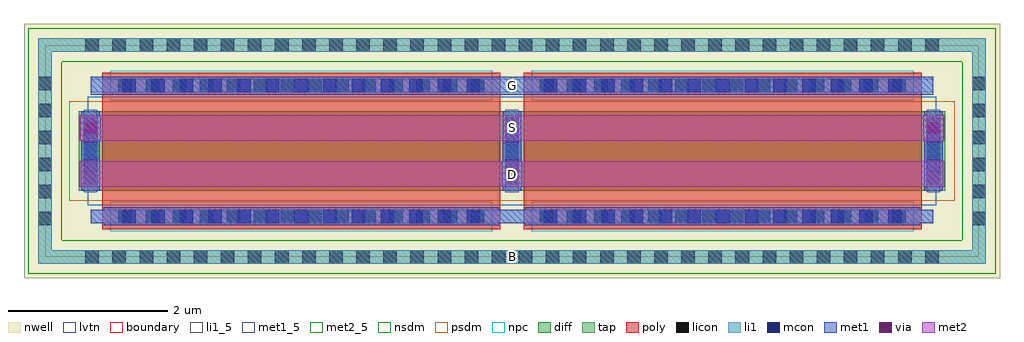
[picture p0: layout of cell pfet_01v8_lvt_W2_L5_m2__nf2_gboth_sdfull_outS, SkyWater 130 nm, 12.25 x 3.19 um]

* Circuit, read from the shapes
.subckt pfet_01v8_lvt_W2_L5_m2__nf2_gboth_sdfull_outS B D G S
XM1 D G S B sky130_fd_pr__pfet_01v8_lvt w=1 l=5 m=2
.ends

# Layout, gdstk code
import gdstk
lib = gdstk.Library(unit=1e-6, precision=1e-09)
def R(c, l, rs):  # rectangles x0, y0, x1, y1
    for r in rs: c.add(gdstk.rectangle(r[:2], r[2:], *l))
def A(c, l, x, y, w, h, nx, ny, dx, dy):  # array of equal rectangles
    R(c, l, [(x+i*dx, y+j*dy, x+i*dx+w, y+j*dy+h) for i in range(nx) for j in range(ny)])
nwell = (64, 20)
diff = (65, 20)
tap = (65, 44)
poly = (66, 20)
licon = (66, 44)
li1_5 = (67, 5)
li1 = (67, 20)
mcon = (67, 44)
met1_5 = (68, 5)
met1 = (68, 20)
via = (68, 44)
met2_5 = (69, 5)
met2 = (69, 20)
nsdm = (93, 44)
psdm = (94, 20)
npc = (95, 20)
lvtn = (125, 44)
boundary = (235, 4)

sky130_fd_pr__pfet_01v8_ = lib.new_cell('sky130_fd_pr__pfet_01v8_lvt_WY76EV')
R(sky130_fd_pr__pfet_01v8_, nwell, [(-6.125,-1.595,6.125,1.595)])
R(sky130_fd_pr__pfet_01v8_, diff, [(-5.435,-0.5,5.435,0.5)])
R(sky130_fd_pr__pfet_01v8_, tap, [(-5.945,-1.415,5.945,-1.245), (-5.945,-1.245,-5.775,1.245), (5.775,-1.245,5.945,1.245), (-5.945,1.245,5.945,1.415)])
R(sky130_fd_pr__pfet_01v8_, poly, [(-5.145,-0.985,-0.145,0.985), (0.145,-0.985,5.145,0.985)])
A(sky130_fd_pr__pfet_01v8_, licon, -5.355, -1.415, 0.17, 0.17, 32, 2, 0.34, 2.66)
A(sky130_fd_pr__pfet_01v8_, licon, -5.945, -0.935, 0.17, 0.17, 1, 6, 0, 0.34)
A(sky130_fd_pr__pfet_01v8_, licon, 5.775, -0.935, 0.17, 0.17, 1, 6, 0, 0.34)
A(sky130_fd_pr__pfet_01v8_, licon, -4.94, -0.905, 0.17, 0.17, 14, 2, 0.34, 1.64)
A(sky130_fd_pr__pfet_01v8_, licon, 0.35, -0.905, 0.17, 0.17, 14, 2, 0.34, 1.64)
A(sky130_fd_pr__pfet_01v8_, licon, -5.375, -0.425, 0.17, 0.17, 3, 3, 5.29, 0.34)
A(sky130_fd_pr__pfet_01v8_, li1, -5.375, -0.52, 0.17, 1.04, 3, 1, 5.29, 0)
R(sky130_fd_pr__pfet_01v8_, li1, [(-5.945,-1.415,5.945,-1.245), (-5.945,-1.245,-5.775,1.245), (5.775,-1.245,5.945,1.245), (-5.29,-0.905,5.29,-0.735), (-5.29,0.735,5.29,0.905), (-5.945,1.245,5.945,1.415)])
A(sky130_fd_pr__pfet_01v8_, mcon, -4.89, -0.905, 0.17, 0.17, 13, 2, 0.36, 1.64)
A(sky130_fd_pr__pfet_01v8_, mcon, 0.4, -0.905, 0.17, 0.17, 13, 2, 0.36, 1.64)
A(sky130_fd_pr__pfet_01v8_, mcon, -5.375, -0.265, 0.17, 0.17, 3, 2, 5.29, 0.36)
A(sky130_fd_pr__pfet_01v8_, met1, -5.405, -0.5, 0.23, 1, 3, 1, 5.29, 0)
R(sky130_fd_pr__pfet_01v8_, met1, [(-5.125,-0.935,-0.165,-0.905), (0.165,-0.935,5.125,-0.905), (-5.29,-0.905,5.29,-0.735), (-5.125,-0.735,-0.165,-0.705), (0.165,-0.735,5.125,-0.705), (-5.125,0.705,-0.165,0.735), (0.165,0.705,5.125,0.735), (-5.29,0.735,5.29,0.905), (-5.125,0.905,-0.165,0.935), (0.165,0.905,5.125,0.935)])
R(sky130_fd_pr__pfet_01v8_, nsdm, [(-6.07,-1.54,6.07,-1.12), (-6.07,-1.12,-5.65,1.12), (5.65,-1.12,6.07,1.12), (-6.07,1.12,6.07,1.54)])
R(sky130_fd_pr__pfet_01v8_, psdm, [(-5.56,-0.625,5.56,0.625)])
R(sky130_fd_pr__pfet_01v8_, npc, [(-5.04,-1.005,-0.25,-0.635), (0.25,-1.005,5.04,-0.635), (-5.04,0.635,-0.25,1.005), (0.25,0.635,5.04,1.005)])
R(sky130_fd_pr__pfet_01v8_, lvtn, [(-5.325,-0.68,5.325,0.68)])
R(sky130_fd_pr__pfet_01v8_, boundary, [(-5.86,-1.33,5.86,1.33)])
sky130_fd_pr__pfet_01v8_.add(gdstk.Label('B', (0,-1.33), layer=67, texttype=5))
sky130_fd_pr__pfet_01v8_.add(gdstk.Label('D0', (-5.29,0), layer=67, texttype=5))
sky130_fd_pr__pfet_01v8_.add(gdstk.Label('G', (2.645,0.82), layer=67, texttype=5))
sky130_fd_pr__pfet_01v8_.add(gdstk.Label('G', (-2.645,0.82), layer=67, texttype=5))
sky130_fd_pr__pfet_01v8_.add(gdstk.Label('S1', (0,0), layer=67, texttype=5))

pfet_01v8_lvt_w2_l5_m2__ = lib.new_cell('pfet_01v8_lvt_W2_L5_m2__nf2_gboth_sdfull_outS')
R(pfet_01v8_lvt_w2_l5_m2__, li1_5, [(5.775,-0.085,5.945,0.085)])
R(pfet_01v8_lvt_w2_l5_m2__, li1, [(5.775,-0.085,5.945,0.085)])
R(pfet_01v8_lvt_w2_l5_m2__, met1_5, [(0.57,2.035,11.15,2.265)])
R(pfet_01v8_lvt_w2_l5_m2__, met1, [(5.73,0.88,5.99,1.2), (0.44,1.46,0.7,1.78), (11.02,1.46,11.28,1.78), (0.57,2.035,11.15,2.265)])
R(pfet_01v8_lvt_w2_l5_m2__, via, [(5.785,0.965,5.935,1.115), (0.495,1.545,0.645,1.695), (11.075,1.545,11.225,1.695)])
R(pfet_01v8_lvt_w2_l5_m2__, met2_5, [(0.435,0.88,11.285,1.2), (0.435,1.46,11.285,1.78)])
R(pfet_01v8_lvt_w2_l5_m2__, met2, [(0.435,0.88,11.285,1.2), (0.435,1.46,11.285,1.78)])
pfet_01v8_lvt_w2_l5_m2__.add(gdstk.Reference(sky130_fd_pr__pfet_01v8_, (5.86,1.33)))
pfet_01v8_lvt_w2_l5_m2__.add(gdstk.Label('S', (5.86,1.62), layer=69, texttype=5))
pfet_01v8_lvt_w2_l5_m2__.add(gdstk.Label('D', (5.86,1.04), layer=69, texttype=5))
pfet_01v8_lvt_w2_l5_m2__.add(gdstk.Label('G', (5.86,2.15), layer=68, texttype=5))
pfet_01v8_lvt_w2_l5_m2__.add(gdstk.Label('B', (5.86,0), layer=67, texttype=5))

lib.write_gds('pfet_01v8_lvt_W2_L5_m2__nf2_gboth_sdfull_outS.gds')
